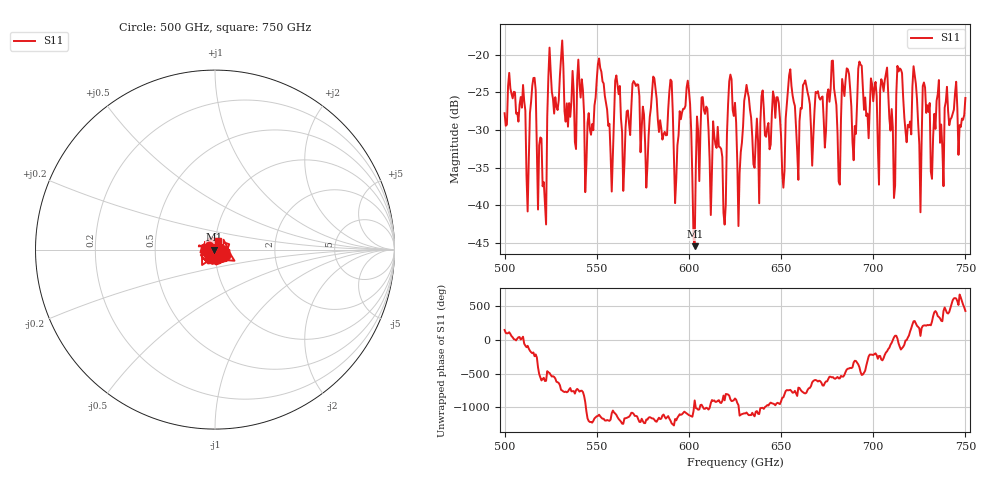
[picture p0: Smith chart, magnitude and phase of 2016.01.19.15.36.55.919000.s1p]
!Created with skrf (http://scikit-rf.org).
# GHz S RI R 50.0
!freq ReS11 ImS11
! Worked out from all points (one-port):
!   401 points, 500 GHz to 750 GHz, reference 50 ohm
!   lowest |S11| = -45.5 dB at 603.1 GHz (marker M1), VSWR 1.01, Z = 49.5 - j0.0342 ohm
!   |S11| at or under -10 dB: start of sweep to end of sweep
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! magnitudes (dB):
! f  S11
! 500 GHz  -27.8
! 512.5 GHz  -40.8
! 515.6 GHz  -23.1
! 521.2 GHz  -36.9
! 524.4 GHz  -19.0
! 531.2 GHz  -18.1
! 545 GHz  -29.1
! 551.2 GHz  -20.5
! 557.5 GHz  -33.2
! 562.5 GHz  -24.1
! 577.5 GHz  -34.8
! 590 GHz  -23.3
! 593.8 GHz  -32.0
! 599.4 GHz  -23.4
! 603.1 GHz  -45.5
! 608.1 GHz  -27.3
! 618.8 GHz  -41.0
! 621.9 GHz  -23.5
! 625 GHz  -26.4
! 646.9 GHz  -28.4
! 651.2 GHz  -37.7
! 656.2 GHz  -25.4
! 687.5 GHz  -24.6
! 706.2 GHz  -23.4
! 710.6 GHz  -29.6
! 714.4 GHz  -21.8
! 718.8 GHz  -29.3
! 750 GHz  -25.7
